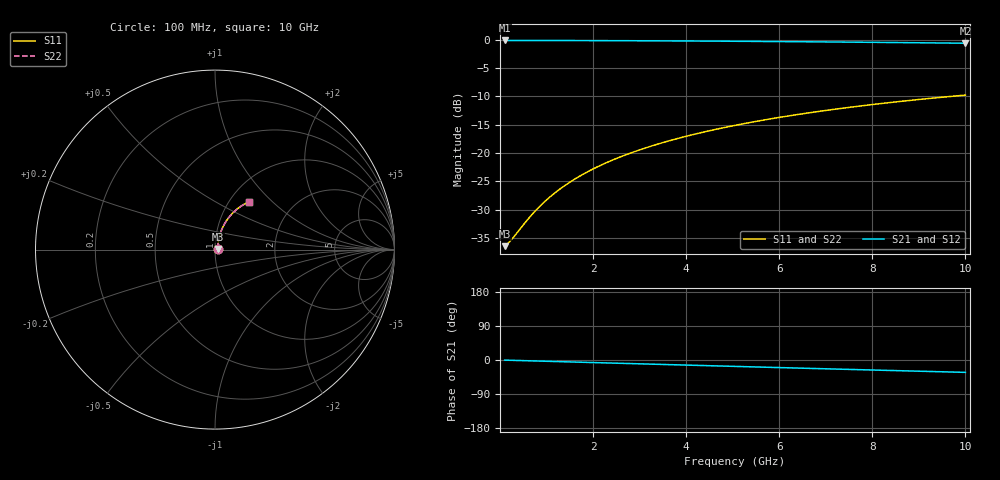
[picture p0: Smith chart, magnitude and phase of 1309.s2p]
# Hz S RI R 50.00
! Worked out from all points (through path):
!   100 points, 100 MHz to 10 GHz, reference 50 ohm
!   highest |S21| = -0.13 dB at 100 MHz (marker M1); lowest = -0.6 dB at 10 GHz (marker M2)
!   group delay of S21, straight-line fit = 9.09 ps
!   lowest |S11| = -36.5 dB at 100 MHz (marker M3), VSWR 1.03, Z = 51.5 + j0.356 ohm
!   |S11| at or under -10 dB: start of sweep to 9.709 GHz
!   |S22| runs from -36.5 to -9.8 dB; largest |S21 - S12| = 0
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1e8  0.0146 0.00346  0.9854 -0.00581  0.9854 -0.00581  0.0146 0.00346
2e8  0.0148 0.00691  0.9852 -0.0116  0.9852 -0.0116  0.0148 0.00691
3e8  0.0149 0.0104  0.985 -0.0174  0.985 -0.0174  0.0149 0.0104
5e8  0.0154 0.0173  0.9846 -0.029  0.9846 -0.029  0.0154 0.0173
7e8  0.0159 0.0241  0.9839 -0.0406  0.9839 -0.0406  0.0159 0.0241
8e8  0.0163 0.0276  0.9835 -0.0464  0.9835 -0.0464  0.0163 0.0276
1e9  0.0171 0.0344  0.9826 -0.0579  0.9826 -0.0579  0.0171 0.0344
1.2e9  0.018 0.0413  0.9816 -0.0695  0.9816 -0.0695  0.018 0.0413
1.4e9  0.0191 0.0481  0.9803 -0.081  0.9803 -0.081  0.0191 0.0481
1.6e9  0.0204 0.0548  0.9789 -0.0925  0.9789 -0.0925  0.0204 0.0548
1.8e9  0.0218 0.0616  0.9773 -0.1039  0.9773 -0.1039  0.0218 0.0616
2.1e9  0.0242 0.0716  0.9745 -0.121  0.9745 -0.121  0.0242 0.0716
2.5e9  0.0279 0.0848  0.9703 -0.1436  0.9703 -0.1436  0.0279 0.0848
2.9e9  0.0323 0.0978  0.9653 -0.166  0.9653 -0.166  0.0323 0.0978
3.4e9  0.0385 0.1136  0.9582 -0.1937  0.9582 -0.1937  0.0385 0.1136
4.2e9  0.0504 0.1381  0.9446 -0.237  0.9446 -0.237  0.0504 0.1381
5.1e9  0.0662 0.1639  0.9264 -0.2842  0.9264 -0.2842  0.0662 0.1639
5.9e9  0.0823 0.1852  0.9078 -0.3245  0.9078 -0.3245  0.0823 0.1852
6.7e9  0.1 0.2048  0.8871 -0.3631  0.8871 -0.3631  0.1 0.2048
7.5e9  0.1193 0.2225  0.8646 -0.3999  0.8646 -0.3999  0.1193 0.2225
8.4e9  0.1425 0.2401  0.8372 -0.439  0.8372 -0.439  0.1425 0.2401
1e10  0.1867 0.265  0.7843 -0.5022  0.7843 -0.5022  0.1867 0.265
